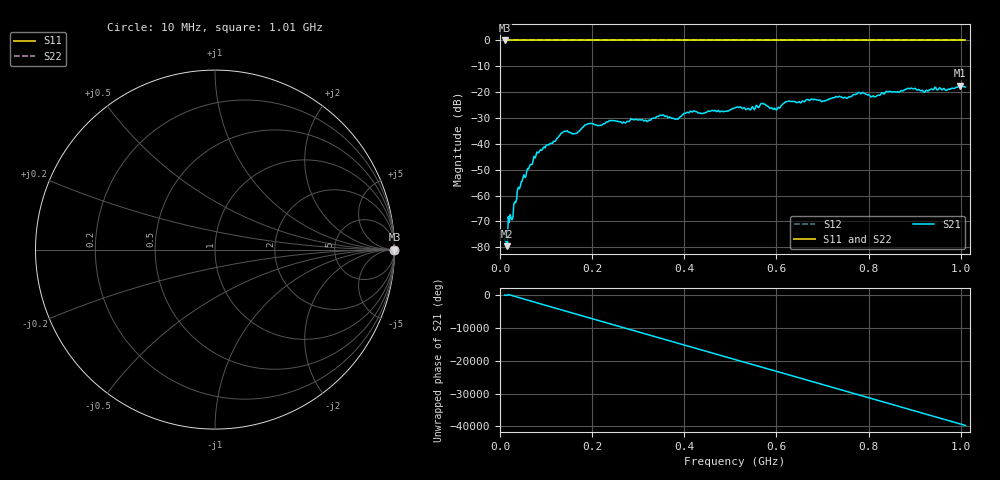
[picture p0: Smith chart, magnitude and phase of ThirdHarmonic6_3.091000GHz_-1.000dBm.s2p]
! 8/17/2025 9:05:34 AM
! C:\ANRITSUVNA\TEMP\TEMP.S2P
! CHANNEL.1
! TR.MEASUREMENT
! RAW.DATA
! RF.CORRECTION.OFF
! AVERAGING.OFF
! IF.BANDWIDTH: 5KHZ
! SWEEPTYPE:  FREQ.SWEEP(Linear)
! Reference Plane Port Info
! PORT:  PORT1  PORT2
! DISTANCE:  0  m  0  m
! TIME:  0  s  0  s
! PHASE.OFFSET:  0  deg.  0  deg.
! LOSS:  0  dB  0  dB
! REF.LOSS:  0  dB  0  dB
! REF.FREQ:  0  Hz  0  Hz
! Power Info
! POWER:  -20  dBm  -20  dBm
! EFF.POWER:  -20  dBm  -20  dBm
! SOURCE.ATTEN:  0  dB  0  dB
! TEST.ATTEN:  0  dB  0  dB
# GHZ S RI R 50.0
! FREQ.GHZ  S11RE  S11IM  S21RE  S21IM  S12RE  S12IM  S22RE  S22IM
!; PortSelection: Port_12
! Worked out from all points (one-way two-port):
!   501 points, 10 MHz to 1.01 GHz, reference 50 ohm
!   highest |S21| = -17.47 dB at 998 MHz (marker M1); lowest = -79.6 dB at 16 MHz (marker M2)
!   lowest |S11| = 0.0 dB at 10 MHz (marker M3)
!   |S11| at or under -10 dB: nowhere
!   |S22| runs from 0.0 to 0.0 dB; largest |S21 - S12| = 1.1
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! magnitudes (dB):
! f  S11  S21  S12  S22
! 10 MHz  0.0  -76.9  0.0  0.0
! 12 MHz  0.0  -77.7  0.0  0.0
! 16 MHz  0.0  -79.6  0.0  0.0
! 22 MHz  0.0  -67.4  0.0  0.0
! 30 MHz  0.0  -63.4  0.0  0.0
! 42 MHz  0.0  -57.4  0.0  0.0
! 78 MHz  0.0  -44.6  0.0  0.0
! 136 MHz  0.0  -35.5  0.0  0.0
! 162 MHz  0.0  -36.0  0.0  0.0
! 178 MHz  0.0  -33.8  0.0  0.0
! 344 MHz  0.0  -29.4  0.0  0.0
! 382 MHz  0.0  -30.4  0.0  0.0
! 416 MHz  0.0  -27.6  0.0  0.0
! 510 MHz  0.0  -26.0  0.0  0.0
! 540 MHz  0.0  -26.3  0.0  0.0
! 570 MHz  0.0  -24.4  0.0  0.0
! 596 MHz  0.0  -26.2  0.0  0.0
! 624 MHz  0.0  -23.6  0.0  0.0
! 678 MHz  0.0  -22.8  0.0  0.0
! 844 MHz  0.0  -19.8  0.0  0.0
! 998 MHz  0.0  -17.5  0.0  0.0
! 1.01 GHz  0.0  -18.0  0.0  0.0
